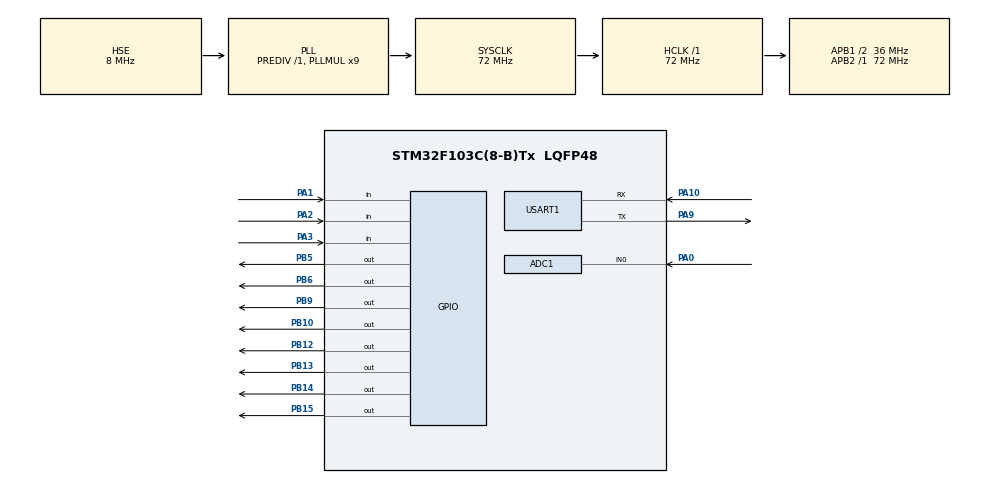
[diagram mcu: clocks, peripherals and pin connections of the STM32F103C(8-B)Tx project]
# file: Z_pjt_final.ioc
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ADC1.Channel-0\#ChannelRegularConversion=ADC_CHANNEL_0
ADC1.NbrOfConversionFlag=1
ADC1.Rank-0\#ChannelRegularConversion=1
ADC1.SamplingTime-0\#ChannelRegularConversion=ADC_SAMPLETIME_1CYCLE_5
ADC1.master=1
Mcu.Family=STM32F1
Mcu.Name=STM32F103C(8-B)Tx
Mcu.Package=LQFP48
NVIC.ADC1_2_IRQn=true\:0\:0\:false\:true\:true\:4\:true\:true\:true
NVIC.PriorityGroup=NVIC_PRIORITYGROUP_4
NVIC.USART1_IRQn=true\:0\:0\:false\:true\:true\:5\:true\:true\:true
PA0-WKUP.Signal=ADCx_IN0
PA1.Signal=GPIO_Input
PA10.Mode=Asynchronous
PA10.Signal=USART1_RX
PA13.Mode=Serial_Wire
PA13.Signal=SYS_JTMS-SWDIO
PA14.Mode=Serial_Wire
PA14.Signal=SYS_JTCK-SWCLK
PA2.Signal=GPIO_Input
PA3.Signal=GPIO_Input
PA9.Mode=Asynchronous
PA9.Signal=USART1_TX
PB10.PinState=GPIO_PIN_SET
PB10.Signal=GPIO_Output
PB12.PinState=GPIO_PIN_SET
PB12.Signal=GPIO_Output
PB13.PinState=GPIO_PIN_SET
PB13.Signal=GPIO_Output
PB14.PinState=GPIO_PIN_SET
PB14.Signal=GPIO_Output
PB15.PinState=GPIO_PIN_SET
PB15.Signal=GPIO_Output
PB5.PinState=GPIO_PIN_SET
PB5.Signal=GPIO_Output
PB6.PinState=GPIO_PIN_SET
PB6.Signal=GPIO_Output
PB9.PinState=GPIO_PIN_SET
PB9.Signal=GPIO_Output
PD0-OSC_IN.Mode=HSE-External-Oscillator
PD0-OSC_IN.Signal=RCC_OSC_IN
PD1-OSC_OUT.Mode=HSE-External-Oscillator
PD1-OSC_OUT.Signal=RCC_OSC_OUT
ProjectManager.HeapSize=0x200
ProjectManager.StackSize=0x400
ProjectManager.TargetToolchain=STM32CubeIDE
RCC.ADCPresc=RCC_ADCPCLK2_DIV6
RCC.AHBFreq_Value=72000000
RCC.APB1CLKDivider=RCC_HCLK_DIV2
RCC.APB1Freq_Value=36000000
RCC.APB1TimFreq_Value=72000000
RCC.APB2Freq_Value=72000000
RCC.APB2TimFreq_Value=72000000
RCC.HCLKFreq_Value=72000000
RCC.PLLMUL=RCC_PLL_MUL9
RCC.PLLSourceVirtual=RCC_PLLSOURCE_HSE
RCC.SYSCLKFreq_VALUE=72000000
RCC.SYSCLKSource=RCC_SYSCLKSOURCE_PLLCLK
RCC.USBFreq_Value=72000000
SH.ADCx_IN0.0=ADC1_IN0,IN0
USART1.VirtualMode=VM_ASYNC
board=custom

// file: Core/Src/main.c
/* USER CODE BEGIN Header */
/**
  ******************************************************************************
  * @file           : main.c
  * @brief          : Main program body
  ******************************************************************************
  * @attention
  *
  * Copyright (c) 2023 STMicroelectronics.
  * All rights reserved.
  *
  * This software is licensed under terms that can be found in the LICENSE file
  * in the root directory of this software component.
  * If no LICENSE file comes with this software, it is provided AS-IS.
  *
  ******************************************************************************
  */

//------------------------------------------
// INCLUDES
//------------------------------------------
#include "main.h"
#include "funcoes_SPI_display.h"
#include "stm32f1xx_hal_conf.h"
#include <stdint.h>
#include <stdbool.h>

//------------------------------------------
// DEFINES
//------------------------------------------
#define DT_ADC 				199           // dt = 199 ms, sample rate 5 samples/seg
#define DT_VARRE_DISP		6      // dt = ~7ms p/ varrer display (142 vz/s)
#define DT_REFRESH			89        // DT = ~90ms p/ nova requisição de dados
#define DT_DISP_MODO1 		3999   // modo 1 muda display a cada 4000 ms
#define DT_DISP_MODO2 		1999   // modo 2 muda display a cada 2000 ms
#define DT_LEDS 			199          // intervalo tempo para piscar leds
#define DT_CRONO 			99          // dt = 99 ms, entra no 100 e ajusta crono
#define DT_DEB_LOW			200       // tempo debouncing fall
#define DT_DEB_HIGH 		100      // tempo debouncing rising
#define NDGDISP				4            // tem NDGDISP displays no painel

#define MD_CRONO 			0           // cronômetro =0 incrementa, =1 decrementa

#define MS_INTERVALO_ALTER_A1	4000
#define MS_INTERVALO_ALTER_A2	2000

#define QTDE_TOCA_BUZZER	 		4
#define MS_INTERVALO_TOCA_BUZZER	200

/*  Algumas STRINGS de MENSAGENS desse projeto (Prof. J Ranhel):
    "rqcrn" requisita o envio do valor do CRONOMETRO do outro kit para o seu
    "rqadc" req o valor de tensao em Volts, do ADC do outro kit para o seu
    "rqbzz" req que o colega toque o buzzer (5x 200ms por 200 ms OFF)
    "XXXXa" seu kit recebe/envia os digitos do ADC em ASCII + 'a'
    "XXXXc" seu kit recebe/envia os digitos do cronometro em ASCII + 'c'
    A mensagem é montada de BufOUT[0] até MSD BufOUT[3], c/ 5 caracteres.
    Para receber um valor é necessário requisitá-lo.
    Interv entre reqs(DT_REFRESH) deve ser <100ms p/ captar déc seg do crono*/

#define REQCRN "rqcrn"       // define a string para pedir dado crono ext
#define REQADC "rqadc"       // define a string para pedir dado ADC ext
#define REQBZZ "rqbzz"       // define a string para solicitar buzzer

/*  macro = função que copia uma STRING(n chars) p/ o BufOUT[](n items) */
#define STR_BUFF(str) do { \
    const char *src = str; \
    strncpy((char *)(BufOUT), src, sizeBuffs); \
} while (0)

//------------------------------------------
// TYPEDEFS
//------------------------------------------

typedef enum
{
	DB_NORMAL,
	DB_FALL,
	DB_LOW,
	DB_RISING

} enum_estado_botoes;

// Estados gerais
typedef enum {
	ESTADO_INICIAL,
	ESTADO_NORMAL,
	ESTADO_ALTERNANCIA_A1,
	ESTADO_ALTERNANCIA_A2,
	ESTADO_ACIONAR_BUZZER

} estado_t;

//------------------------------------------
// LOCAL VARIABLES
//------------------------------------------

// Handles gerais
ADC_HandleTypeDef hadc1;
UART_HandleTypeDef huart1;

// buffers para entrada e saida de dados via USART
uint8_t BufOUT[5];                     // def buffer OUT
uint8_t BufIN[5];                      // def buffer IN

int8_t DspHex[] = {16,16,16,16};       // vetor val display (se=16 display off)
size_t sizeBuffs = sizeof(BufOUT);     // tamanho dos buffers - usa geral

// os vetores seguintes tem idx[0] = digito menos significativo no display
int8_t Crono[] = {0,0,0,0};            // vetor com vals dec do cronometro
int8_t ValAdc[] = {0,0,0,0};           // vetor com vals decimais do ADC

int8_t ExCrono[] = {4,3,2,1};          // vetor externo vals dec do crono
int8_t ExValAdc[] = {1,2,3,4};         // vetor externo vals dec do ADC

int32_t qualMSG = 0;                   // var que controla qual MSG enviar
int32_t modo = 0;                      // 'modo' do display (o que está mostrando)

estado_t estadoAtual = ESTADO_INICIAL;

const int8_t array_teste_display[] = {8,8,8,8};

uint32_t tempoAnterior = 0;

bool exibirCronometro = true; // Controla se exibe o cronômetro ou ADC

int32_t contadorAlternanciaA2 = 0; // Controla a alternância de 4 valores no A2

//------------------------------------------
// LOCAL FUNCTIONS PROTOTYPES
//------------------------------------------
void SystemClock_Config(void);
static void MX_GPIO_Init(void);
static void MX_ADC1_Init(void);
static void MX_USART1_UART_Init(void);
static void MX_NVIC_Init(void);

//------------------------------------------
// MAIN
//------------------------------------------
int main(void)
{
	enum_estado_botoes sttBTA1 = DB_NORMAL;                 // var estado FSM debouncing A1
	enum_estado_botoes sttBTA2 = DB_NORMAL;                 // var estado FSM debouncing A2
	enum_estado_botoes sttBTA3 = DB_NORMAL;                 // var estado FSM debouncing A3
	uint32_t tNow = 0;                   // tempo que representa agora
	uint32_t tIN_A1 = 0;                   // salva tempo debouncing A1
	uint32_t tIN_A2 = 0;                   // salva tempo debouncing A2
	uint32_t tIN_A3 = 0;                   // salva tempo debouncing A3
	uint32_t tIN_varre = 0;                   // salva tempo última varredura
	uint32_t flgPending = 0;                  // flag se tem uma msg pendente p/ envio

  /* Reset of all peripherals, Initializes the Flash interface and the Systick. */
  HAL_Init();

  /* Configure the system clock */
  SystemClock_Config();

  /* Initialize all configured peripherals */
  MX_GPIO_Init();
  MX_ADC1_Init();
  MX_USART1_UART_Init();

  /* Initialize interrupts */
  MX_NVIC_Init();

  // começa SPI emulada com pinos = 'high'
  reset_pinos_emula_SPI ();

  // para a UART começar a receber os dados pelo RX
  HAL_UART_Receive_IT(&huart1, BufIN, sizeBuffs);

  // esse while consome: ~6.6uS, ~20uS c/ callbacks UART, e ~50uS em IRQs ticks
  // para enviar um buffer 5 bytes na UART ~400 uS
  while (1)
  {
	switch(estadoAtual)
	{
        case ESTADO_INICIAL:
        break;

        case ESTADO_ALTERNANCIA_A1:
            if (HAL_GetTick() - tempoAnterior >= MS_INTERVALO_ALTER_A1)
            {
                // Alternar entre cronômetro e ADC
                exibirCronometro = !exibirCronometro;
                tempoAnterior = HAL_GetTick();
            }
        break;

        case ESTADO_ALTERNANCIA_A2:
            if (HAL_GetTick() - tempoAnterior >= MS_INTERVALO_ALTER_A2)
            {
            	tempoAnterior = HAL_GetTick();

                // Alterar para o próximo valor a ser exibido no ciclo A2
                contadorAlternanciaA2++;

                if(contadorAlternanciaA2 > 3)
                {
                	contadorAlternanciaA2 = 0;
                }
            }
        break;

        case ESTADO_ACIONAR_BUZZER:
//            if (digitalRead(A3) == HIGH) {
//                acionarBuzzer();
//            }

            // Voltar para o estado normal
            estadoAtual = ESTADO_NORMAL;
        break;

        default:
            estadoAtual = ESTADO_INICIAL;
        break;
    }

	// MAQUINA EXIBICACAO DISPLAY
      if ((tNow-tIN_varre) > DT_VARRE_DISP)
      {
    	  tIN_varre = tNow;

    	 switch(estadoAtual)
    	 {
    	 	 case ESTADO_INICIAL:
    	 		 // Mostra "8888"
    	 		for (int i=0; i<NDGDISP; i++) DspHex[i] = array_teste_display[i];

    	 		mostrar_no_display(DspHex, 0x0F);
    	     break;

    	 	 case ESTADO_ALTERNANCIA_A1:
    	 		if(exibirCronometro)
    	 		{
    	 			// Mostra nosso crono
					for (int i=0; i<NDGDISP; i++) DspHex[i] = Crono[i];

					mostrar_no_display(DspHex, 0x0A);
    	 		}
    	 		else
    	 		{
    	 			// Mostra ADC
					for (int i=0; i<NDGDISP; i++) DspHex[i] = ValAdc[i];

					mostrar_no_display(DspHex, 0x08);
    	 		}
			 break;

    	 	 case ESTADO_ALTERNANCIA_A2:
    	 		 switch(contadorAlternanciaA2)
    	 		 {
    	 		 	 case 0:
    	 		 		// Mostra nosso crono
						for (int i=0; i<NDGDISP; i++) DspHex[i] = Crono[i];

						mostrar_no_display(DspHex, 0x0A);
    	 			 break;

    	 		 	 case 1:
    	 		 		// Mostra ADC
						for (int i=0; i<NDGDISP; i++) DspHex[i] = ValAdc[i];

						mostrar_no_display(DspHex, 0x08);
    	 		 	 break;

    	 		 	 case 2:
    	 		 		// Mostra crono do amigo
						for (int i=0; i<NDGDISP; i++) DspHex[i] = ExCrono[i];

						mostrar_no_display(DspHex, 0x0A);
    	 		 	 break;

    	 		 	 case 3:
    	 		 		// Mostra ADC do amigo
						for (int i=0; i<NDGDISP; i++) DspHex[i] = ExValAdc[i];

						mostrar_no_display(DspHex, 0x08);
    	 		 	 break;
    	 		 }
    	 	 break;

    	 	 default:
    	     break;
    	 }
      }

	// - A1 (PA1): MOSTRA CRONOMETRO E ADC A CADA 2v/4s
	// - A2 (PA2): REQUISITA DADOS DA PLACA DO AMIGO
	//			   COMEÇA A MOSTRAR OS NOSSOS VALORES E OS VALORES DO AMIGO 4v/2s
	//			   SE PRESSIONAR A1 VOLTA A MOSTRAR SO OS NOSSOS
	// - A3 (PA3): SOLICITAR ACIONAMENTO DO BUZZER DA PLACA DO AMIGO

	// MAQUINA PISCA LEDS

	// MAQUINA TOCA BUZZER

    tNow = HAL_GetTick();

    // TRANSFORMAR ISSO TUDO PRA FUNÇÕES
    // Primeiro botão
		switch(sttBTA1) {
		case DB_NORMAL:
		  if(HAL_GPIO_ReadPin(GPIOA, GPIO_PIN_1) == 0)
		  {
			tIN_A1 = tNow;
			estadoAtual = ESTADO_ALTERNANCIA_A1;

			sttBTA1 = DB_FALL;
		  }
		  break;
		case DB_FALL:
		  if ((tNow-tIN_A1)>DT_DEB_LOW)
		  {
			sttBTA1 = DB_LOW;
		  }
		  break;
		case DB_LOW:
		  if(HAL_GPIO_ReadPin(GPIOA, GPIO_PIN_1) == 1)
		  {
			tIN_A1 = tNow;
			sttBTA1 = DB_RISING;
		  }
		  break;
		case DB_RISING:
		  if ((tNow-tIN_A1)>DT_DEB_HIGH)
		  {
			sttBTA1 = DB_NORMAL;
		  }
		  break;
		}

	// Primeiro botão
		switch(sttBTA2) {
		 case DB_NORMAL:
		   if(HAL_GPIO_ReadPin(GPIOA, GPIO_PIN_2) == 0)
		   {
			 tIN_A2 = tNow;
			 estadoAtual = ESTADO_ALTERNANCIA_A2;

			 sttBTA2 = DB_FALL;
		   }
		   break;
		 case DB_FALL:
		   if ((tNow-tIN_A2)>DT_DEB_LOW)
		   {
			 sttBTA2 = DB_LOW;
		   }
		   break;
		 case DB_LOW:
		   if(HAL_GPIO_ReadPin(GPIOA, GPIO_PIN_2) == 1)
		   {
			 tIN_A2 = tNow;
			 sttBTA2 = DB_RISING;
		   }
		   break;
		 case DB_RISING:
		   if ((tNow-tIN_A2)>DT_DEB_HIGH)
		   {
			 sttBTA2 = DB_NORMAL;
		   }
		   break;
		 }

	// Terceiro botão
		switch(sttBTA3) {
		 case DB_NORMAL:
		   if(HAL_GPIO_ReadPin(GPIOA, GPIO_PIN_3) == 0)
		   {
			 tIN_A3 = tNow;
			 estadoAtual = ESTADO_ACIONAR_BUZZER;

			 sttBTA3 = DB_FALL;
		   }
		   break;
		 case DB_FALL:
		   if ((tNow-tIN_A3)>DT_DEB_LOW)
		   {
			 sttBTA3 = DB_LOW;
		   }
		   break;
		 case DB_LOW:
		   if(HAL_GPIO_ReadPin(GPIOA, GPIO_PIN_3) == 1)
		   {
			 tIN_A3 = tNow;
			 sttBTA3 = DB_RISING;
		   }
		   break;
		 case DB_RISING:
		   if ((tNow-tIN_A3)>DT_DEB_HIGH)
		   {
			 sttBTA3 = DB_NORMAL;
		   }
		   break;
		 }

    // tarefa obrigatória #1: tem que mandar dados? Montar a mensagem
    // ( não precisa ser aqui! ) exemplo de como montar uma msg:
    //   qualMSG = 1;                  // mudar a var qualMSG
    //   STR_BUFF(REQCRN);             // preenche bufOUT c/ "rqcrn"
    //   ou montar o BufOUT[] manualmente com val do Crono local
    //   BufOUT[0] = conv_num_ASC(Crono[0]); // converter num para ASCII
    //   BufOUT[1] = conv_num_ASC(Crono[1]);
    //   BufOUT[2] = conv_num_ASC(Crono[2]);
    //   BufOUT[3] = conv_num_ASC(Crono[3]);
    //   BufOUT[4] = 'c';              // ASCII caractere 'c'

    // tarefa obrigatória #2: tem MSG pra enviar? enviar via UART
    if (qualMSG != 0 || flgPending != 0)
    {
      // se UART nao estiver com uma transissao em andamento
      if (HAL_UART_GetState(&huart1) != HAL_UART_STATE_BUSY_TX)
      {
    	  // transmite a MSG
    	  HAL_UART_Transmit_IT(&huart1, BufOUT, sizeBuffs);

    	  flgPending = 0;
		  qualMSG = 0;
      }
      else
      {

    	  flgPending = 1;
      }
    }
  }
}

void SystemClock_Config(void)
{
  RCC_OscInitTypeDef RCC_OscInitStruct = {0};
  RCC_ClkInitTypeDef RCC_ClkInitStruct = {0};
  RCC_PeriphCLKInitTypeDef PeriphClkInit = {0};

  /** Initializes the RCC Oscillators according to the specified parameters
  * in the RCC_OscInitTypeDef structure.
  */
  RCC_OscInitStruct.OscillatorType = RCC_OSCILLATORTYPE_HSE;
  RCC_OscInitStruct.HSEState = RCC_HSE_ON;
  RCC_OscInitStruct.HSEPredivValue = RCC_HSE_PREDIV_DIV1;
  RCC_OscInitStruct.HSIState = RCC_HSI_ON;
  RCC_OscInitStruct.PLL.PLLState = RCC_PLL_ON;
  RCC_OscInitStruct.PLL.PLLSource = RCC_PLLSOURCE_HSE;
  RCC_OscInitStruct.PLL.PLLMUL = RCC_PLL_MUL9;
  if (HAL_RCC_OscConfig(&RCC_OscInitStruct) != HAL_OK)
  {
    Error_Handler();
  }

  /** Initializes the CPU, AHB and APB buses clocks
  */
  RCC_ClkInitStruct.ClockType = RCC_CLOCKTYPE_HCLK|RCC_CLOCKTYPE_SYSCLK
                              |RCC_CLOCKTYPE_PCLK1|RCC_CLOCKTYPE_PCLK2;
  RCC_ClkInitStruct.SYSCLKSource = RCC_SYSCLKSOURCE_PLLCLK;
  RCC_ClkInitStruct.AHBCLKDivider = RCC_SYSCLK_DIV1;
  RCC_ClkInitStruct.APB1CLKDivider = RCC_HCLK_DIV2;
  RCC_ClkInitStruct.APB2CLKDivider = RCC_HCLK_DIV1;

  if (HAL_RCC_ClockConfig(&RCC_ClkInitStruct, FLASH_LATENCY_2) != HAL_OK)
  {
    Error_Handler();
  }
  PeriphClkInit.PeriphClockSelection = RCC_PERIPHCLK_ADC;
  PeriphClkInit.AdcClockSelection = RCC_ADCPCLK2_DIV6;
  if (HAL_RCCEx_PeriphCLKConfig(&PeriphClkInit) != HAL_OK)
  {
    Error_Handler();
  }
}

/**
  * @brief NVIC Configuration.
  * @retval None
  */
static void MX_NVIC_Init(void)
{
  /* ADC1_2_IRQn interrupt configuration */
  HAL_NVIC_SetPriority(ADC1_2_IRQn, 0, 0);
  HAL_NVIC_EnableIRQ(ADC1_2_IRQn);

  /* USART1_IRQn interrupt configuration */
  HAL_NVIC_SetPriority(USART1_IRQn, 0, 0);
  HAL_NVIC_EnableIRQ(USART1_IRQn);
}

static void MX_ADC1_Init(void)
{

  ADC_ChannelConfTypeDef sConfig = {0};

  /** Common config
  */
  hadc1.Instance = ADC1;
  hadc1.Init.ScanConvMode = ADC_SCAN_DISABLE;
  hadc1.Init.ContinuousConvMode = DISABLE;
  hadc1.Init.DiscontinuousConvMode = DISABLE;
  hadc1.Init.ExternalTrigConv = ADC_SOFTWARE_START;
  hadc1.Init.DataAlign = ADC_DATAALIGN_RIGHT;
  hadc1.Init.NbrOfConversion = 1;
  if (HAL_ADC_Init(&hadc1) != HAL_OK)
  {
    Error_Handler();
  }

  /** Configure Regular Channel
  */
  sConfig.Channel = ADC_CHANNEL_0;
  sConfig.Rank = ADC_REGULAR_RANK_1;
  sConfig.SamplingTime = ADC_SAMPLETIME_1CYCLE_5;
  if (HAL_ADC_ConfigChannel(&hadc1, &sConfig) != HAL_OK)
  {
    Error_Handler();
  }
}

static void MX_USART1_UART_Init(void)
{
  huart1.Instance = USART1;
  huart1.Init.BaudRate = 115200;
  huart1.Init.WordLength = UART_WORDLENGTH_8B;
  huart1.Init.StopBits = UART_STOPBITS_1;
  huart1.Init.Parity = UART_PARITY_NONE;
  huart1.Init.Mode = UART_MODE_TX_RX;
  huart1.Init.HwFlowCtl = UART_HWCONTROL_NONE;
  huart1.Init.OverSampling = UART_OVERSAMPLING_16;
  if (HAL_UART_Init(&huart1) != HAL_OK)
  {
    Error_Handler();
  }
}

static void MX_GPIO_Init(void)
{
  GPIO_InitTypeDef GPIO_InitStruct = {0};

  /* GPIO Ports Clock Enable */
  __HAL_RCC_GPIOD_CLK_ENABLE();
  __HAL_RCC_GPIOA_CLK_ENABLE();
  __HAL_RCC_GPIOB_CLK_ENABLE();

  /*Configure GPIO pin Output Level */
  HAL_GPIO_WritePin(GPIOB, GPIO_PIN_10|GPIO_PIN_12|GPIO_PIN_13|GPIO_PIN_14
                          |GPIO_PIN_15|GPIO_PIN_5|GPIO_PIN_6|GPIO_PIN_9, GPIO_PIN_SET);

  /*Configure GPIO pins : PA1 PA2 PA3 */
  GPIO_InitStruct.Pin = GPIO_PIN_1|GPIO_PIN_2|GPIO_PIN_3;
  GPIO_InitStruct.Mode = GPIO_MODE_INPUT;
  GPIO_InitStruct.Pull = GPIO_NOPULL;
  HAL_GPIO_Init(GPIOA, &GPIO_InitStruct);

  /*Configure GPIO pins : PB10 PB12 PB13 PB14
                           PB15 PB5 PB6 PB9 */
  GPIO_InitStruct.Pin = GPIO_PIN_10|GPIO_PIN_12|GPIO_PIN_13|GPIO_PIN_14
                          |GPIO_PIN_15|GPIO_PIN_5|GPIO_PIN_6|GPIO_PIN_9;
  GPIO_InitStruct.Mode = GPIO_MODE_OUTPUT_PP;
  GPIO_InitStruct.Pull = GPIO_NOPULL;
  GPIO_InitStruct.Speed = GPIO_SPEED_FREQ_LOW;
  HAL_GPIO_Init(GPIOB, &GPIO_InitStruct);

}

/* USER CODE BEGIN 4 */

// fn de callback do Systick, ajusta crono e ADC
void Ajusta_Crono_ADC()
 {
	static uint16_t conta = 0;           // conta para ajustar qdo alterar o crono
	static uint16_t conta_ADC = 0;       // conta p/ ajustar qdo disparar ADC
	// CRONOMETRO UP/DOWN:
	if (conta >= DT_CRONO)               // quando conta == DT_CRONO (ms)
	{
		conta = 0;                         // retorna conta para zero
		if (MD_CRONO == 0) {               // MD_CRONO = 0 incrementa o cronômetro
			++Crono[0];                      // inc decimo de segundos
			if (Crono[0] > 9) {              // se > 9
				Crono[0] = 0;                  // volta p/ zero
				++Crono[1];                    // inc unidade de segundo
				if (Crono[1] > 9) {            // se > 9
					Crono[1] = 0;                // volta p/ zero
					++Crono[2];                  // inc dezena de segundos
					if (Crono[2] > 5) {          // se > 5
						Crono[2] = 0;              // volta p/ zero
						++Crono[3];                // inc minutos
						if (Crono[3] > 9) {        // se > 9
							Crono[3] = 0;            // volta p/ zero
		} } } } } else {                   // MD_CRONO = 1 decrementa o cronômetro
			--Crono[0];                      // dec decimo de segundos
			if (Crono[0] < 0) {              // se < 0
				Crono[0] = 9;                  // volta p/ 9
				--Crono[1];                    // dec unidade de segundo
				if (Crono[1] < 0) {            // se < 0
					Crono[1] = 9;                // volta p/ 9
					--Crono[2];                  // dec dezena de segundos
					if (Crono[2] < 0) {          // se < 0
						Crono[2] = 5;              // volta p/ 5
						--Crono[3];                // dec minutos
						if (Crono[3] < 0) {        // se < 0
							Crono[3] = 9;            // volta p/ 9
		} } } } } } else {
		++conta;
	}                 // inc contador de vezes

	// dispara o ADC ?
	if (conta_ADC >= DT_ADC) {           // se atingiu a qtde ms p/ disparar ADC
		conta_ADC = 0;                     // volta contador ADC p/ zero
		HAL_ADC_Start_IT(&hadc1);          // dispara ADC p/ conversao por IRQ
	} else {
		++conta_ADC;
	}              // se nao, apenas inc o conta

}

// fn que atende ao callback da ISR do conversor ADC1
void HAL_ADC_ConvCpltCallback(ADC_HandleTypeDef* hadc)
{
  uint16_t val_adc = 0;                // define var para ler ADC
  if(hadc->Instance == ADC1) {         // se veio ADC1
    val_adc = HAL_ADC_GetValue(&hadc1);// capta valor adc
    // converter o valor lido em valores hexa p/ display
    int miliVolt = val_adc*3300/4095;
    int uniADC = miliVolt/1000;
    int decADC = (miliVolt-(uniADC*1000))/100;
    int cnsADC = (miliVolt-(uniADC*1000)-(decADC*100))/10;
    int mlsADC = miliVolt-(uniADC*1000)-(decADC*100)-(cnsADC*10);
    ValAdc[3] = uniADC;         // dig mais significativo
    ValAdc[2] = decADC;
    ValAdc[1] = cnsADC;
    ValAdc[0] = mlsADC;
  }
}

// fn que atende ao callback da ISR quando RECEBE dado pela UART
void HAL_UART_RxCpltCallback(UART_HandleTypeDef *huart)
{
  // o que veio na UART?
  // se veio "rxxxx", o cliente solicitou o dado ou buzzer
  if (BufIN[0]=='r') {                 // então veio um request...

// vocês vão fazer o tratamento do que veio pela UART

  }

  // OBRIGATÓRIO: é preciso voltar a escutar a UART continuamente...
  HAL_UART_Receive_IT(&huart1, BufIN, sizeBuffs);// reativa RECEPÇÃO por interrupção
}

/* USER CODE END 4 */

void Error_Handler(void)
{
  __disable_irq();
  while (1)
  {
  }
}
